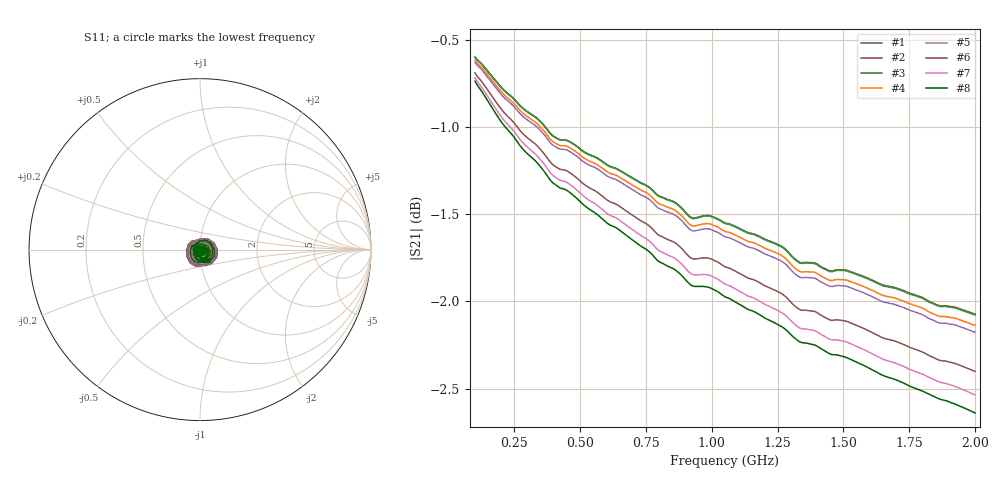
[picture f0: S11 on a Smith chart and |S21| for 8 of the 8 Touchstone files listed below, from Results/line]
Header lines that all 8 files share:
!Keysight Technologies,N5242B,MY48420967,A.15.65.19
!Correction: S11(C  2-Port  )
!S21(C  2-Port  )
!S12(C  2-Port  )
!S22(C  2-Port  )
!S2P File: Measurements: S11, S21, S12, S22:
# Hz S  dB  R 50
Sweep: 100 MHz to 2 GHz
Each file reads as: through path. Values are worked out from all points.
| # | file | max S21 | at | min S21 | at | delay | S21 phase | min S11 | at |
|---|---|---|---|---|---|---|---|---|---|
| 1 | S-ParamMeas20k_line.s2p | -0.60 dB | 100 MHz | -2.1 dB | 2 GHz | 7.85 ns | -92 deg at 1.05 GHz | -53.6 dB | 1.563 GHz |
| 2 | S-ParamMeas25k_line.s2p | -0.60 dB | 100 MHz | -2.1 dB | 2 GHz | 7.85 ns | -92 deg at 1.05 GHz | -53.7 dB | 1.563 GHz |
| 3 | S-ParamMeas30k_line.s2p | -0.60 dB | 100 MHz | -2.1 dB | 2 GHz | 7.85 ns | -92 deg at 1.05 GHz | -53.5 dB | 1.563 GHz |
| 4 | S-ParamMeas77k_line.s2p | -0.62 dB | 100 MHz | -2.1 dB | 2 GHz | 7.85 ns | -92 deg at 1.05 GHz | -54.2 dB | 1.563 GHz |
| 5 | S-ParamMeas100k_line.s2p | -0.63 dB | 100 MHz | -2.2 dB | 2 GHz | 7.85 ns | -92 deg at 1.05 GHz | -54.4 dB | 1.563 GHz |
| 6 | S-ParamMeas200k_line.s2p | -0.69 dB | 100 MHz | -2.4 dB | 2 GHz | 7.85 ns | -90 deg at 1.05 GHz | -51.5 dB | 1.563 GHz |
| 7 | S-ParamMeas250k_line.s2p | -0.72 dB | 100 MHz | -2.5 dB | 2 GHz | 7.84 ns | -89 deg at 1.05 GHz | -59.6 dB | 1.933 GHz |
| 8 | S-ParamMeas290k_line.s2p | -0.73 dB | 100 MHz | -2.6 dB | 2 GHz | 7.84 ns | -88 deg at 1.05 GHz | -51.4 dB | 1.268 GHz |
